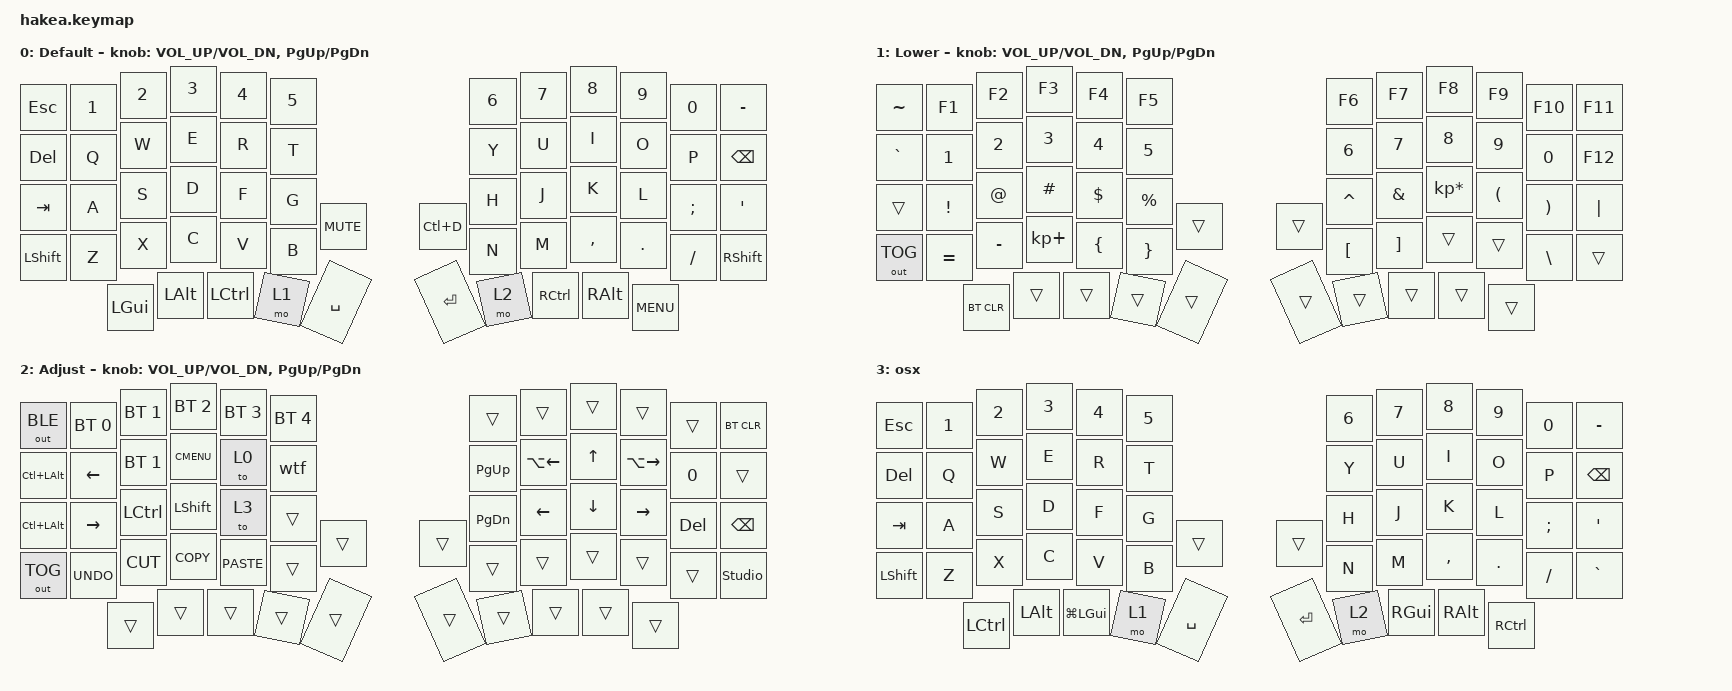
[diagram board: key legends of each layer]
#include <behaviors.dtsi>
#include <dt-bindings/zmk/keys.h>
#include <dt-bindings/zmk/outputs.h>
#include <dt-bindings/zmk/bt.h>

/ {
    macros {
        wtf: wtf {
            compatible = "zmk,behavior-macro";
            label = "new_macro";
            #binding-cells = <0>;
            bindings = <&kp LS(W) &kp LS(T) &kp LS(F) &kp EXCL>;
        };
    };

    keymap {
        compatible = "zmk,keymap";

        default_layer {
             display-name = "Default";

            // ------------------------------------------------------------------------------------------------------------
            // |  `    |  1  |  2  |  3   |  4   |  5   |                   |  6   |  7    |  8    |  9   |   0   |       |
            // |  ESC  |  Q  |  W  |  E   |  R   |  T   |                   |  Y   |  U    |  I    |  O   |   P   | BKSPC |
            // |  TAB  |  A  |  S  |  D   |  F   |  G   |                   |  H   |  J    |  K    |  L   |   ;   |   '   |
            // | SHIFT |  Z  |  X  |  C   |  V   |  B   |  MUTE  |  |       |  N   |  M    |  ,    |  .   |   /   | SHIFT |
            //               | GUI | ALT  | CTRL | LOWER|  ENTER |  | SPACE | RAISE| CTRL  | ALT   | GUI  |

            bindings = <
  &kp ESC    &kp N1    &kp N2     &kp N3  &kp N4     &kp N5                           &kp N6     &kp N7     &kp N8      &kp N9     &kp N0  &kp MINUS
  &kp DEL     &kp Q     &kp W      &kp E   &kp R      &kp T                           &kp Y      &kp U      &kp I       &kp O      &kp P   &kp BSPC
  &kp TAB     &kp A     &kp S      &kp D   &kp F      &kp G                           &kp H      &kp J      &kp K       &kp L   &kp SEMI    &kp SQT
&kp LSHFT     &kp Z     &kp X      &kp C   &kp V      &kp B  &kp C_MUTE   &kp LC(D)   &kp N      &kp M  &kp COMMA     &kp DOT  &kp SLASH  &kp RSHFT
                 &kp LGUI  &kp LALT  &kp LCTRL   &mo 1  &kp SPACE           &kp ENTER     &mo 2  &kp RCTRL   &kp RALT  &kp K_MENU
            >;

            sensor-bindings = <&inc_dec_kp C_VOL_UP C_VOL_DN &inc_dec_kp PG_UP PG_DN>;
        };

        lower_layer {
             display-name = "Lower";

            // TODO: Some binds are waiting for shifted keycode support.
            // ------------------------------------------------------------------------------------------------------------
            // |       |  F1 |  F2 |  F3  |  F4  |  F5  |                   |  F6  |  F7   |  F8   |  F9  |  F10  |  F11  |
            // | `     |   1 |   2 |   3  |   4  |   5  |                   |   6  |   7   |   8   |   9  |    0  |  F12  |
            // |       |  !  |  @  |  #   |  $   |  %   |                   |  ^   |  &    |  *    |  (   |   )   |   |   |
            // |       |  =  |   c |  + c |  { = |  } - |        |  |       |  [   |  ]    |  ;    |  :   |   \   |       |
            //               |     |      |      |      |        |  |       |      |       |       |      |

            bindings = <
&kp TILDE  &kp F1     &kp F2       &kp F3    &kp F4     &kp F5                            &kp F6             &kp F7            &kp F8          &kp F9    &kp F10        &kp F11
&kp GRAVE  &kp N1     &kp N2       &kp N3    &kp N4     &kp N5                            &kp N6             &kp N7            &kp N8          &kp N9    &kp N0         &kp F12
   &trans  &kp EXCL   &kp AT       &kp HASH  &kp DLLR   &kp PRCNT                         &kp CARET          &kp AMPS          &kp KP_MULTIPLY &kp LPAR  &kp RPAR  &kp PIPE
&out OUT_TOG  &kp EQUAL  &kp MINUS  &kp KP_PLUS  &kp LBRC   &kp RBRC  &trans         &trans  &kp LEFT_BRACKET   &kp RIGHT_BRACKET &trans          &trans    &kp BACKSLASH     &trans
             &bt BT_CLR    &trans       &trans    &trans     &trans  &trans                    &trans             &trans        &trans    &trans
            >;

            sensor-bindings = <&inc_dec_kp C_VOL_UP C_VOL_DN &inc_dec_kp PG_UP PG_DN>;
        };

        raise_layer {
             display-name = "Adjust";

            // ------------------------------------------------------------------------------------------------------------
            // |BTCLR| BT1  | BT2  |  BT3  |  BT4  |  BT5 |                |      |      |       |      |       |        |
            // |     | INS  | PSCR | GUI   |       |      |                | PGUP | NW   |   ^   |  PW  |       |        |
            // |     | ALT  | CTRL | SHIFT |       | CAPS |                | PGDN |   <- |   v   |  ->  |  DEL  | BKSPC  |
            // |     | UNDO | CUT  | COPY  | PASTE |      |      |  |      |      |      |       |      |       | STUDIO |
            //              |      |       |       |      |      |  |      |      |      |       |      |

            bindings = <
&out OUT_BLE  &bt BT_SEL 0  &bt BT_SEL 1  &bt BT_SEL 2  &bt BT_SEL 3  &bt BT_SEL 4                     &trans        &trans    &trans         &trans   &trans  &bt BT_CLR
&kp LC(LALT)      &kp LEFT  &bt BT_SEL 1   &kp K_CMENU         &to 0          &wtf                  &kp PG_UP  &kp LA(LEFT)    &kp UP  &kp LA(RIGHT)   &kp N0      &trans
&kp LC(LALT)     &kp RIGHT     &kp LCTRL     &kp LSHFT         &to 3        &trans                  &kp PG_DN      &kp LEFT  &kp DOWN      &kp RIGHT  &kp DEL    &kp BSPC
&out OUT_TOG    &kp K_UNDO     &kp K_CUT    &kp K_COPY   &kp K_PASTE        &trans  &trans  &trans     &trans        &trans    &trans         &trans   &trans      &studio_unlock
                    &trans        &trans        &trans        &trans        &trans  &trans             &trans        &trans    &trans         &trans
            >;

            sensor-bindings = <&inc_dec_kp C_VOL_UP C_VOL_DN &inc_dec_kp PG_UP PG_DN>;
        };

        OSX {
             display-name = "osx";
            bindings = <
  &kp ESC     &kp N1    &kp N2        &kp N3  &kp N4     &kp N5                   &kp N6         &kp N7     &kp N8     &kp N9    &kp N0  &kp MINUS
  &kp DEL      &kp Q     &kp W         &kp E   &kp R      &kp T                    &kp Y          &kp U      &kp I      &kp O     &kp P   &kp BSPC
  &kp TAB      &kp A     &kp S         &kp D   &kp F      &kp G                    &kp H          &kp J      &kp K      &kp L  &kp SEMI    &kp SQT
&kp LSHFT      &kp Z     &kp X         &kp C   &kp V      &kp B   &trans  &trans   &kp N          &kp M  &kp COMMA    &kp DOT  &kp FSLH  &kp GRAVE
           &kp LCTRL  &kp LALT  &kp LG(LGUI)   &mo 1  &kp SPACE  &kp RET           &mo 2  &kp RIGHT_GUI   &kp RALT  &kp RCTRL
            >;
        };
    };
};
